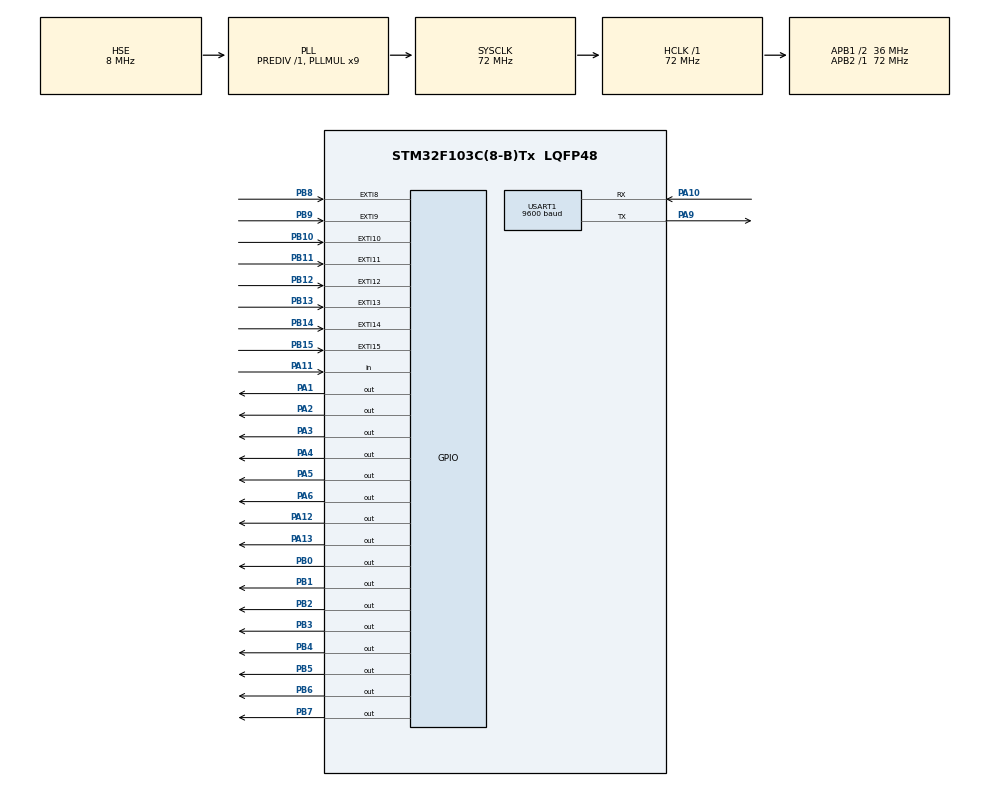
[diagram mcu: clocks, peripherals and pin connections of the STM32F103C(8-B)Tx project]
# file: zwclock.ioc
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Mcu.Family=STM32F1
Mcu.Name=STM32F103C(8-B)Tx
Mcu.Package=LQFP48
NVIC.EXTI15_10_IRQn=true\:1\:0\:true\:false\:true\:true\:true
NVIC.EXTI9_5_IRQn=true\:2\:0\:true\:false\:true\:true\:true
NVIC.PriorityGroup=NVIC_PRIORITYGROUP_4
NVIC.TIM2_IRQn=true\:3\:0\:true\:false\:true\:true\:true
NVIC.USART1_IRQn=true\:0\:0\:false\:false\:true\:true\:true
PA1.Signal=GPIO_Output
PA10.Mode=Asynchronous
PA10.Signal=USART1_RX
PA11.GPIO_PuPd=GPIO_PULLDOWN
PA11.Signal=GPIO_Input
PA12.Signal=GPIO_Output
PA13.PinState=GPIO_PIN_RESET
PA13.Signal=GPIO_Output
PA2.Signal=GPIO_Output
PA3.Signal=GPIO_Output
PA4.Signal=GPIO_Output
PA5.Signal=GPIO_Output
PA6.Signal=GPIO_Output
PA9.Mode=Asynchronous
PA9.Signal=USART1_TX
PB0.Signal=GPIO_Output
PB1.Signal=GPIO_Output
PB10.Signal=GPXTI10
PB11.Signal=GPXTI11
PB12.GPIO_PuPd=GPIO_PULLDOWN
PB12.Signal=GPXTI12
PB13.GPIO_PuPd=GPIO_PULLDOWN
PB13.Signal=GPXTI13
PB14.GPIO_PuPd=GPIO_PULLDOWN
PB14.Signal=GPXTI14
PB15.GPIO_PuPd=GPIO_PULLDOWN
PB15.Signal=GPXTI15
PB2.Signal=GPIO_Output
PB3.Signal=GPIO_Output
PB4.Signal=GPIO_Output
PB5.Signal=GPIO_Output
PB6.Signal=GPIO_Output
PB7.Signal=GPIO_Output
PB8.Signal=GPXTI8
PB9.GPIO_PuPd=GPIO_PULLDOWN
PB9.Signal=GPXTI9
PC14-OSC32_IN.Mode=LSE-External-Oscillator
PC14-OSC32_IN.Signal=RCC_OSC32_IN
PC15-OSC32_OUT.Mode=LSE-External-Oscillator
PC15-OSC32_OUT.Signal=RCC_OSC32_OUT
PD0-OSC_IN.Mode=HSE-External-Oscillator
PD0-OSC_IN.Signal=RCC_OSC_IN
PD1-OSC_OUT.Mode=HSE-External-Oscillator
PD1-OSC_OUT.Signal=RCC_OSC_OUT
ProjectManager.HeapSize=0x200
ProjectManager.StackSize=0x400
ProjectManager.TargetToolchain=MDK-ARM V5
RCC.AHBFreq_Value=72000000
RCC.APB1CLKDivider=RCC_HCLK_DIV2
RCC.APB1Freq_Value=36000000
RCC.APB1TimFreq_Value=72000000
RCC.APB2Freq_Value=72000000
RCC.APB2TimFreq_Value=72000000
RCC.HCLKFreq_Value=72000000
RCC.PLLMUL=RCC_PLL_MUL9
RCC.PLLSourceVirtual=RCC_PLLSOURCE_HSE
RCC.SYSCLKFreq_VALUE=72000000
RCC.SYSCLKSource=RCC_SYSCLKSOURCE_PLLCLK
RCC.USBFreq_Value=72000000
TIM2.Period=10000-1
TIM2.Prescaler=7200-1
USART1.BaudRate=9600
USART1.VirtualMode=VM_ASYNC
VP_SYS_VS_ND.Mode=No_Debug
VP_TIM2_VS_ClockSourceINT.Mode=Internal
board=custom

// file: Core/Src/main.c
/* USER CODE BEGIN Header */
/**
  ******************************************************************************
  * @file           : main.c
  * @brief          : Main program body
  ******************************************************************************
  * @attention
  *
  * <h2><center>&copy; Copyright (c) 2024 STMicroelectronics.
  * All rights reserved.</center></h2>
  *
  * This software component is licensed by ST under BSD 3-Clause license,
  * the "License"; You may not use this file except in compliance with the
  * License. You may obtain a copy of the License at:
  *                        opensource.org/licenses/BSD-3-Clause
  *
  ******************************************************************************
  */
/* USER CODE END Header */
#include "main.h"

TIM_HandleTypeDef htim2;

UART_HandleTypeDef huart1;

/* USER CODE BEGIN PV */
uint8_t seg[10]={0xc0,0xf9,0xa4,0xb0,0x99,0x92,0x82,0xf8,0x80,0x90};
int time[3]={0,0,0};
uint8_t rx_data[6];
uint8_t tx_data[8]={0,0,':',0,0,':',1,0};
uint8_t clock[3]={0,0,10};
uint8_t timeshow[6]={0,0,0,0,0,0};
uint8_t num[6]={0x40,0x20,0x10,0x08,0x04,0x02};
uint8_t is_running = 0;
uint8_t is_clock = 1;
uint8_t dir = 1;
/* USER CODE END PV */

void SystemClock_Config(void);
static void MX_GPIO_Init(void);
static void MX_USART1_UART_Init(void);
static void MX_TIM2_Init(void);
/* USER CODE BEGIN PFP */
void delay(int n);
void change();

/* USER CODE END PFP */

int main(void)
{

  /* MCU Configuration--------------------------------------------------------*/

  /* Reset of all peripherals, Initializes the Flash interface and the Systick. */
  HAL_Init();

  /* Configure the system clock */
  SystemClock_Config();

  /* Initialize all configured peripherals */
  MX_GPIO_Init();
  MX_USART1_UART_Init();
  MX_TIM2_Init();
  /* USER CODE BEGIN 2 */
	HAL_TIM_Base_Start_IT(&htim2);
	HAL_UART_Receive_IT(&huart1,rx_data,6);
  /* USER CODE END 2 */

  /* Infinite loop */
  /* USER CODE BEGIN WHILE */
  while (1)
  {
		int i=0;
		int t=60*time[1]+time[2]+3600*time[0];
		int c=60*clock[1]+clock[2]+3600*clock[0];

    //数码管显示
		for(i=0;i<6;i++)
		{
				GPIOB->ODR|=0xff;
		    GPIOB->ODR&=0xffffff00;
		    GPIOB->ODR|=seg[timeshow[5-i]];
		    GPIOA->ODR&=0xffffff00;
		    GPIOA->ODR|=num[i];
		    delay(100);
		}

//蜂鸣器
	  if(t-c<=5&&t-c>=0)
		{
			HAL_GPIO_WritePin(GPIOA,GPIO_PIN_12,1);
		}
		else{
			HAL_GPIO_WritePin(GPIOA,GPIO_PIN_12,0);
		}

    /* USER CODE END WHILE */

  }
}

void SystemClock_Config(void)
{
  RCC_OscInitTypeDef RCC_OscInitStruct = {0};
  RCC_ClkInitTypeDef RCC_ClkInitStruct = {0};

  /** Initializes the RCC Oscillators according to the specified parameters
  * in the RCC_OscInitTypeDef structure.
  */
  RCC_OscInitStruct.OscillatorType = RCC_OSCILLATORTYPE_HSE;
  RCC_OscInitStruct.HSEState = RCC_HSE_ON;
  RCC_OscInitStruct.HSEPredivValue = RCC_HSE_PREDIV_DIV1;
  RCC_OscInitStruct.HSIState = RCC_HSI_ON;
  RCC_OscInitStruct.PLL.PLLState = RCC_PLL_ON;
  RCC_OscInitStruct.PLL.PLLSource = RCC_PLLSOURCE_HSE;
  RCC_OscInitStruct.PLL.PLLMUL = RCC_PLL_MUL9;
  if (HAL_RCC_OscConfig(&RCC_OscInitStruct) != HAL_OK)
  {
    Error_Handler();
  }
  /** Initializes the CPU, AHB and APB buses clocks
  */
  RCC_ClkInitStruct.ClockType = RCC_CLOCKTYPE_HCLK|RCC_CLOCKTYPE_SYSCLK
                              |RCC_CLOCKTYPE_PCLK1|RCC_CLOCKTYPE_PCLK2;
  RCC_ClkInitStruct.SYSCLKSource = RCC_SYSCLKSOURCE_PLLCLK;
  RCC_ClkInitStruct.AHBCLKDivider = RCC_SYSCLK_DIV1;
  RCC_ClkInitStruct.APB1CLKDivider = RCC_HCLK_DIV2;
  RCC_ClkInitStruct.APB2CLKDivider = RCC_HCLK_DIV1;

  if (HAL_RCC_ClockConfig(&RCC_ClkInitStruct, FLASH_LATENCY_2) != HAL_OK)
  {
    Error_Handler();
  }
}

static void MX_TIM2_Init(void)
{

  TIM_ClockConfigTypeDef sClockSourceConfig = {0};
  TIM_MasterConfigTypeDef sMasterConfig = {0};

  htim2.Instance = TIM2;
  htim2.Init.Prescaler = 7200-1;
  htim2.Init.CounterMode = TIM_COUNTERMODE_UP;
  htim2.Init.Period = 10000-1;
  htim2.Init.ClockDivision = TIM_CLOCKDIVISION_DIV1;
  htim2.Init.AutoReloadPreload = TIM_AUTORELOAD_PRELOAD_DISABLE;
  if (HAL_TIM_Base_Init(&htim2) != HAL_OK)
  {
    Error_Handler();
  }
  sClockSourceConfig.ClockSource = TIM_CLOCKSOURCE_INTERNAL;
  if (HAL_TIM_ConfigClockSource(&htim2, &sClockSourceConfig) != HAL_OK)
  {
    Error_Handler();
  }
  sMasterConfig.MasterOutputTrigger = TIM_TRGO_RESET;
  sMasterConfig.MasterSlaveMode = TIM_MASTERSLAVEMODE_DISABLE;
  if (HAL_TIMEx_MasterConfigSynchronization(&htim2, &sMasterConfig) != HAL_OK)
  {
    Error_Handler();
  }

}

static void MX_USART1_UART_Init(void)
{

  huart1.Instance = USART1;
  huart1.Init.BaudRate = 9600;
  huart1.Init.WordLength = UART_WORDLENGTH_8B;
  huart1.Init.StopBits = UART_STOPBITS_1;
  huart1.Init.Parity = UART_PARITY_NONE;
  huart1.Init.Mode = UART_MODE_TX_RX;
  huart1.Init.HwFlowCtl = UART_HWCONTROL_NONE;
  huart1.Init.OverSampling = UART_OVERSAMPLING_16;
  if (HAL_UART_Init(&huart1) != HAL_OK)
  {
    Error_Handler();
  }

}

static void MX_GPIO_Init(void)
{
  GPIO_InitTypeDef GPIO_InitStruct = {0};

  /* GPIO Ports Clock Enable */
  __HAL_RCC_GPIOC_CLK_ENABLE();
  __HAL_RCC_GPIOD_CLK_ENABLE();
  __HAL_RCC_GPIOA_CLK_ENABLE();
  __HAL_RCC_GPIOB_CLK_ENABLE();

  /*Configure GPIO pin Output Level */
  HAL_GPIO_WritePin(GPIOA, GPIO_PIN_1|GPIO_PIN_2|GPIO_PIN_3|GPIO_PIN_4
                          |GPIO_PIN_5|GPIO_PIN_6|GPIO_PIN_12|GPIO_PIN_13, GPIO_PIN_RESET);

  /*Configure GPIO pin Output Level */
  HAL_GPIO_WritePin(GPIOB, GPIO_PIN_0|GPIO_PIN_1|GPIO_PIN_2|GPIO_PIN_3
                          |GPIO_PIN_4|GPIO_PIN_5|GPIO_PIN_6|GPIO_PIN_7, GPIO_PIN_RESET);

  /*Configure GPIO pins : PA1 PA2 PA3 PA4
                           PA5 PA6 PA12 PA13 */
  GPIO_InitStruct.Pin = GPIO_PIN_1|GPIO_PIN_2|GPIO_PIN_3|GPIO_PIN_4
                          |GPIO_PIN_5|GPIO_PIN_6|GPIO_PIN_12|GPIO_PIN_13;
  GPIO_InitStruct.Mode = GPIO_MODE_OUTPUT_PP;
  GPIO_InitStruct.Pull = GPIO_NOPULL;
  GPIO_InitStruct.Speed = GPIO_SPEED_FREQ_LOW;
  HAL_GPIO_Init(GPIOA, &GPIO_InitStruct);

  /*Configure GPIO pins : PB0 PB1 PB2 PB3
                           PB4 PB5 PB6 PB7 */
  GPIO_InitStruct.Pin = GPIO_PIN_0|GPIO_PIN_1|GPIO_PIN_2|GPIO_PIN_3
                          |GPIO_PIN_4|GPIO_PIN_5|GPIO_PIN_6|GPIO_PIN_7;
  GPIO_InitStruct.Mode = GPIO_MODE_OUTPUT_PP;
  GPIO_InitStruct.Pull = GPIO_NOPULL;
  GPIO_InitStruct.Speed = GPIO_SPEED_FREQ_LOW;
  HAL_GPIO_Init(GPIOB, &GPIO_InitStruct);

  /*Configure GPIO pins : PB10 PB11 PB8 */
  GPIO_InitStruct.Pin = GPIO_PIN_10|GPIO_PIN_11|GPIO_PIN_8;
  GPIO_InitStruct.Mode = GPIO_MODE_IT_RISING;
  GPIO_InitStruct.Pull = GPIO_NOPULL;
  HAL_GPIO_Init(GPIOB, &GPIO_InitStruct);

  /*Configure GPIO pins : PB12 PB13 PB14 PB15
                           PB9 */
  GPIO_InitStruct.Pin = GPIO_PIN_12|GPIO_PIN_13|GPIO_PIN_14|GPIO_PIN_15
                          |GPIO_PIN_9;
  GPIO_InitStruct.Mode = GPIO_MODE_IT_RISING;
  GPIO_InitStruct.Pull = GPIO_PULLDOWN;
  HAL_GPIO_Init(GPIOB, &GPIO_InitStruct);

  /*Configure GPIO pin : PA11 */
  GPIO_InitStruct.Pin = GPIO_PIN_11;
  GPIO_InitStruct.Mode = GPIO_MODE_INPUT;
  GPIO_InitStruct.Pull = GPIO_PULLDOWN;
  HAL_GPIO_Init(GPIOA, &GPIO_InitStruct);

  /* EXTI interrupt init*/
  HAL_NVIC_SetPriority(EXTI9_5_IRQn, 2, 0);
  HAL_NVIC_EnableIRQ(EXTI9_5_IRQn);

  HAL_NVIC_SetPriority(EXTI15_10_IRQn, 1, 0);
  HAL_NVIC_EnableIRQ(EXTI15_10_IRQn);

}

/* USER CODE BEGIN 4 */
void HAL_TIM_PeriodElapsedCallback(TIM_HandleTypeDef *htim)
	{
		if(is_running)
		{
			if(dir)
			{
				time[2]+=1;
				change();
			}
			else
			{
				time[2]-=1;
				change();
			}
		}
		   if (time[0] == 0 && time[1] == 0 && time[2] == 0)
      {
        // Stop at 23:59:59 and reset to 0:0:0
        is_running = 0;  // Stop the timer
        time[0] = 0;
        time[1] = 0;
        time[2] = 0;
        change();  // Update display to reflect reset state
      }
}
void delay(int n){
	int i=0,j=0;
	for(i=0;i<n;i++)
  {
		for(j=0;j<100;j++){}
		}
}
void change(){

	if(time[2]>=60){
		time[2]=0;
		time[1]+=1;}
	if(time[2]==-1){
		time[1]-=1;
		time[2]=59;}
	if(time[1]>=60){
		time[1]=0;
		time[0]+=1;}
	if(time[1]==-1){
		time[0]-=1;
		time[1]=59;}
	if(time[0]>=24){
		time[0]=0;}
	if(time[0]==-1){
	  time[0]=23;}
	timeshow[5]=time[2]%10;
	timeshow[4]=time[2]/10;
	timeshow[3]=time[1]%10;
	timeshow[2]=time[1]/10;
	timeshow[1]=time[0]%10;
	timeshow[0]=time[0]/10;
}
void HAL_GPIO_EXTI_Callback(uint16_t GPIO_Pin)
{
	delay(2000);
		 if(GPIO_Pin==GPIO_PIN_9)
		{
			is_running = !is_running;
	}

 if(GPIO_Pin==GPIO_PIN_11)
		{
			dir = !dir;
	}
		if(GPIO_Pin==GPIO_PIN_8)
		{
			is_clock= !is_clock;
	}

	if(GPIO_Pin==GPIO_PIN_12)
  {
		if(HAL_GPIO_ReadPin(GPIOA,GPIO_PIN_11)==1)
    time[0]+=1;
		else
    time[0]-=1;
		change();
	}
	if(GPIO_Pin==GPIO_PIN_13){
		if(HAL_GPIO_ReadPin(GPIOA,GPIO_PIN_11)==1)
    time[1]+=1;
		else
    time[1]-=1;
		change();
	}
	if(GPIO_Pin==GPIO_PIN_14){
		if(HAL_GPIO_ReadPin(GPIOA,GPIO_PIN_11)==1)
    time[2]+=1;
		else
    time[2]-=1;
		change();
	}
			 if(HAL_GPIO_ReadPin(GPIOB,GPIO_PIN_15)==1)
  {
		is_running=0;
	   time[0]=time[1]=time[2]=0;
  }
	change();
}

void HAL_UART_RxCpltCallback(UART_HandleTypeDef *huart){
	int i;
	if(is_clock)
	{
	clock[2]=(rx_data[5]-0x30)+10*(rx_data[4]-0x30);
	clock[1]=(rx_data[3]-0x30)+10*(rx_data[2]-0x30);
	clock[0]=(rx_data[1]-0x30)+10*(rx_data[0]-0x30);
	}
	else
	{
	time[2]=(rx_data[5]-0x30)+10*(rx_data[4]-0x30);
	time[1]=(rx_data[3]-0x30)+10*(rx_data[2]-0x30);
	time[0]=(rx_data[1]-0x30)+10*(rx_data[0]-0x30);
		is_running=0;
		change();
	}
  for(i=0;i<2;i++){tx_data[i]=rx_data[i];}
	for(;i<4;i++){tx_data[i+1]=rx_data[i];}
	for(;i<6;i++){tx_data[i+2]=rx_data[i];}
	HAL_UART_Transmit_IT(&huart1,tx_data,8);
	HAL_UART_Receive_IT(&huart1,rx_data,6);
}

/* USER CODE END 4 */

void Error_Handler(void)
{
  __disable_irq();
  while (1)
  {
  }
}

/************************ (C) COPYRIGHT STMicroelectronics *****END OF FILE****/
